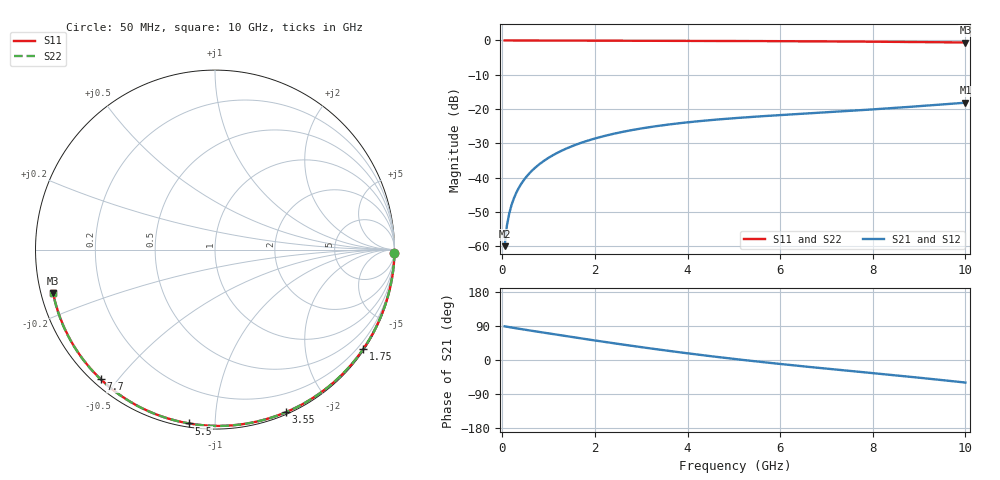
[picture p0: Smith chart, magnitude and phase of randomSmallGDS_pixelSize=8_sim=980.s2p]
! freq	dB(S11)	phase(S11)	dB(S12)	phase(S12)
!  dB(S21)	phase(S21)	dB(S22)	phase(S22)
!S-par simulation data
#  GHz  S  DB  R 50
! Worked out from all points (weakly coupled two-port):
!   200 points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, 50 MHz to 10 GHz, reference 50 ohm
!   highest |S21| = -18.12 dB at 10 GHz (marker M1); lowest = -59.9 dB at 50 MHz (marker M2)
!   lowest |S11| = -0.6 dB at 10 GHz (marker M3), VSWR 29.16, Z = 1.74 - j6.62 ohm
!   |S11| at or under -10 dB: nowhere
!   |S22| runs from -0.6 to 0.0 dB; largest |S21 - S12| = 0
!   S11 on the Smith chart (normalised r, x): 50 MHz: open; 1.75 GHz: 0.03, -3.29; 3.55 GHz: 0.02, -1.53; 5.5 GHz: 0.02, -0.86; 7.7 GHz: 0.02, -0.45; 10 GHz: 0.03, -0.13
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0.05  -0.00 -1.0  -59.91 88.9  -59.91 88.9  -0.00 -1.0
0.1  -0.00 -2.0  -53.90 87.8  -53.90 87.8  -0.00 -2.0
0.15  -0.00 -3.0  -50.39 86.7  -50.39 86.7  -0.00 -3.0
0.2  -0.00 -3.9  -47.90 85.7  -47.90 85.7  -0.00 -3.9
0.25  -0.00 -4.9  -45.98 84.6  -45.98 84.6  -0.00 -4.9
0.35  -0.01 -6.9  -43.09 82.6  -43.09 82.6  -0.01 -6.9
0.5  -0.01 -9.8  -40.04 79.7  -40.04 79.7  -0.01 -9.8
0.7  -0.02 -13.7  -37.17 75.9  -37.17 75.9  -0.02 -13.7
1  -0.03 -19.5  -34.16 70.2  -34.16 70.2  -0.03 -19.5
1.35  -0.04 -26.2  -31.68 63.6  -31.68 63.6  -0.04 -26.3
1.75  -0.05 -33.8  -29.59 56.1  -29.59 56.1  -0.05 -33.8
2.6  -0.07 -49.5  -26.62 40.8  -26.62 40.8  -0.07 -49.6
3.4  -0.10 -63.8  -24.82 27.2  -24.82 27.2  -0.10 -63.8
3.55  -0.10 -66.4  -24.55 24.8  -24.55 24.8  -0.10 -66.4
4.3  -0.13 -79.1  -23.44 13.1  -23.44 13.1  -0.13 -79.1
5.05  -0.16 -91.3  -22.59 2.2  -22.59 2.2  -0.16 -91.3
5.5  -0.18 -98.4  -22.17 -3.9  -22.17 -3.9  -0.18 -98.4
6.7  -0.25 -116.7  -21.16 -19.2  -21.16 -19.2  -0.25 -116.7
7.7  -0.33 -131.4  -20.34 -31.1  -20.34 -31.1  -0.32 -131.4
8.35  -0.39 -140.8  -19.76 -38.8  -19.76 -38.8  -0.39 -140.8
9.2  -0.49 -153.1  -18.94 -49.2  -18.94 -49.2  -0.48 -153.1
10  -0.60 -164.9  -18.12 -59.6  -18.12 -59.6  -0.59 -164.9
